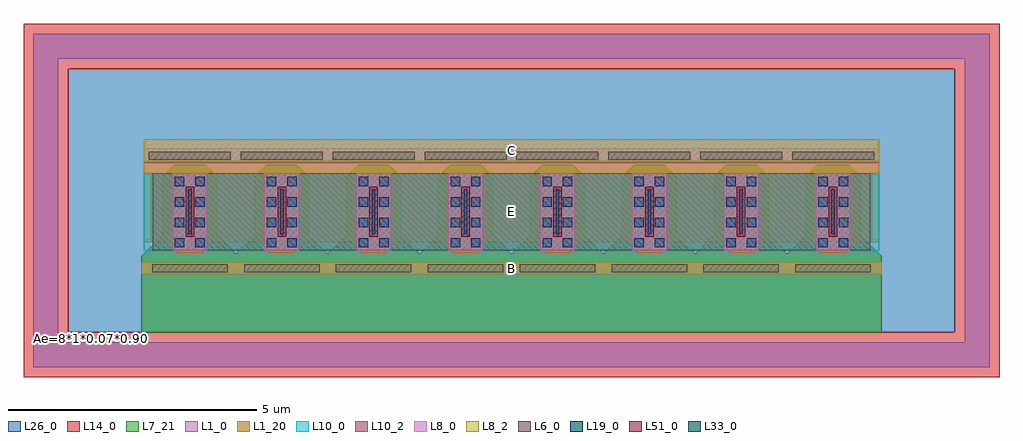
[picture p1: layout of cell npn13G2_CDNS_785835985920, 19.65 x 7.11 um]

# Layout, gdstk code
import gdstk
lib = gdstk.Library(unit=1e-6, precision=1e-09)
def R(c, l, rs):  # rectangles x0, y0, x1, y1
    for r in rs: c.add(gdstk.rectangle(r[:2], r[2:], *l))
def A(c, l, x, y, w, h, nx, ny, dx, dy):  # array of equal rectangles
    R(c, l, [(x+i*dx, y+j*dy, x+i*dx+w, y+j*dy+h) for i in range(nx) for j in range(ny)])
def P(c, l, *ps):  # polygons
    for p in ps: c.add(gdstk.Polygon(p, *l))
L1_0 = (1, 0)
L1_20 = (1, 20)
L6_0 = (6, 0)
L7_21 = (7, 21)
L8_0 = (8, 0)
L8_2 = (8, 2)
L10_0 = (10, 0)
L10_2 = (10, 2)
L14_0 = (14, 0)
L19_0 = (19, 0)
L26_0 = (26, 0)
L33_0 = (33, 0)
L51_0 = (51, 0)

npn13g2_base_cdns_785835 = lib.new_cell('npn13G2_base_CDNS_785835985921')
A(npn13g2_base_cdns_785835, L1_0, -0.925, -1.28, 1.85, 0.3, 8, 1, 1.85, 0)
P(npn13g2_base_cdns_785835, L1_20, [(12.025,-0.98),(12.025,0.62),(12.505,0.62),(12.715,0.83),(13.185,0.83),(13.395,0.62),(13.875,0.62),(13.875,-0.98)],
  [(10.175,-0.98),(10.175,0.62),(10.655,0.62),(10.865,0.83),(11.335,0.83),(11.545,0.62),(12.025,0.62),(12.025,-0.98)],
  [(8.325,-0.98),(8.325,0.62),(8.805,0.62),(9.015,0.83),(9.485,0.83),(9.695,0.62),(10.175,0.62),(10.175,-0.98)],
  [(6.475,-0.98),(6.475,0.62),(6.955,0.62),(7.165,0.83),(7.635,0.83),(7.845,0.62),(8.325,0.62),(8.325,-0.98)],
  [(4.625,-0.98),(4.625,0.62),(5.105,0.62),(5.315,0.83),(5.785,0.83),(5.995,0.62),(6.475,0.62),(6.475,-0.98)],
  [(2.775,-0.98),(2.775,0.62),(3.255,0.62),(3.465,0.83),(3.935,0.83),(4.145,0.62),(4.625,0.62),(4.625,-0.98)],
  [(0.925,-0.98),(0.925,0.62),(1.405,0.62),(1.615,0.83),(2.085,0.83),(2.295,0.62),(2.775,0.62),(2.775,-0.98)],
  [(-0.925,-0.98),(-0.925,0.62),(-0.445,0.62),(-0.235,0.83),(0.235,0.83),(0.445,0.62),(0.925,0.62),(0.925,-0.98)])
A(npn13g2_base_cdns_785835, L6_0, -0.825, -1.21, 1.65, 0.16, 8, 1, 1.85, 0)
A(npn13g2_base_cdns_785835, L6_0, -0.76, 1.06, 1.52, 0.16, 8, 1, 1.85, 0)
P(npn13g2_base_cdns_785835, L7_21, [(12.645,-0.94),(12.395,-0.69),(12.395,0.48),(11.975,0.9),(11.975,2.43),(13.925,2.43),(13.925,0.9),(13.505,0.48),(13.505,-0.69),(13.255,-0.94)],
  [(10.795,-0.94),(10.545,-0.69),(10.545,0.48),(10.125,0.9),(10.125,2.43),(12.075,2.43),(12.075,0.9),(11.655,0.48),(11.655,-0.69),(11.405,-0.94)],
  [(8.945,-0.94),(8.695,-0.69),(8.695,0.48),(8.275,0.9),(8.275,2.43),(10.225,2.43),(10.225,0.9),(9.805,0.48),(9.805,-0.69),(9.555,-0.94)],
  [(7.095,-0.94),(6.845,-0.69),(6.845,0.48),(6.425,0.9),(6.425,2.43),(8.375,2.43),(8.375,0.9),(7.955,0.48),(7.955,-0.69),(7.705,-0.94)],
  [(5.245,-0.94),(4.995,-0.69),(4.995,0.48),(4.575,0.9),(4.575,2.43),(6.525,2.43),(6.525,0.9),(6.105,0.48),(6.105,-0.69),(5.855,-0.94)],
  [(3.395,-0.94),(3.145,-0.69),(3.145,0.48),(2.725,0.9),(2.725,2.43),(4.675,2.43),(4.675,0.9),(4.255,0.48),(4.255,-0.69),(4.005,-0.94)],
  [(1.545,-0.94),(1.295,-0.69),(1.295,0.48),(0.875,0.9),(0.875,2.43),(2.825,2.43),(2.825,0.9),(2.405,0.48),(2.405,-0.69),(2.155,-0.94)],
  [(-0.305,-0.94),(-0.555,-0.69),(-0.555,0.48),(-0.975,0.9),(-0.975,2.43),(0.975,2.43),(0.975,0.9),(0.555,0.48),(0.555,-0.69),(0.305,-0.94)])
A(npn13g2_base_cdns_785835, L8_0, -0.35, -0.77, 0.7, 1.555, 8, 1, 1.85, 0)
R(npn13g2_base_cdns_785835, L8_0, [(-0.925,-1.46,13.875,-1.02), (-0.975,1.02,13.925,1.26)])
R(npn13g2_base_cdns_785835, L10_0, [(-0.925,-0.77,13.875,0.785)])
A(npn13g2_base_cdns_785835, L19_0, -0.3, -0.7, 0.19, 0.19, 1, 4, 0, 0.41)
A(npn13g2_base_cdns_785835, L19_0, 0.11, -0.7, 0.19, 0.19, 1, 4, 0, 0.41)
A(npn13g2_base_cdns_785835, L19_0, 1.55, -0.7, 0.19, 0.19, 1, 4, 0, 0.41)
A(npn13g2_base_cdns_785835, L19_0, 1.96, -0.7, 0.19, 0.19, 1, 4, 0, 0.41)
A(npn13g2_base_cdns_785835, L19_0, 3.4, -0.7, 0.19, 0.19, 1, 4, 0, 0.41)
A(npn13g2_base_cdns_785835, L19_0, 3.81, -0.7, 0.19, 0.19, 1, 4, 0, 0.41)
A(npn13g2_base_cdns_785835, L19_0, 5.25, -0.7, 0.19, 0.19, 1, 4, 0, 0.41)
A(npn13g2_base_cdns_785835, L19_0, 5.66, -0.7, 0.19, 0.19, 1, 4, 0, 0.41)
A(npn13g2_base_cdns_785835, L19_0, 7.1, -0.7, 0.19, 0.19, 1, 4, 0, 0.41)
A(npn13g2_base_cdns_785835, L19_0, 7.51, -0.7, 0.19, 0.19, 1, 4, 0, 0.41)
A(npn13g2_base_cdns_785835, L19_0, 8.95, -0.7, 0.19, 0.19, 1, 4, 0, 0.41)
A(npn13g2_base_cdns_785835, L19_0, 9.36, -0.7, 0.19, 0.19, 1, 4, 0, 0.41)
A(npn13g2_base_cdns_785835, L19_0, 10.8, -0.7, 0.19, 0.19, 1, 4, 0, 0.41)
A(npn13g2_base_cdns_785835, L19_0, 11.21, -0.7, 0.19, 0.19, 1, 4, 0, 0.41)
A(npn13g2_base_cdns_785835, L19_0, 12.65, -0.7, 0.19, 0.19, 1, 4, 0, 0.41)
A(npn13g2_base_cdns_785835, L19_0, 13.06, -0.7, 0.19, 0.19, 1, 4, 0, 0.41)
R(npn13g2_base_cdns_785835, L33_0, [(-0.035,-0.45,0.035,0.45), (-0.035,-0.45,0.035,0.45), (1.815,-0.45,1.885,0.45), (1.815,-0.45,1.885,0.45), (3.665,-0.45,3.735,0.45), (3.665,-0.45,3.735,0.45), (5.515,-0.45,5.585,0.45), (5.515,-0.45,5.585,0.45), (7.365,-0.45,7.435,0.45), (7.365,-0.45,7.435,0.45), (9.215,-0.45,9.285,0.45), (9.215,-0.45,9.285,0.45), (11.065,-0.45,11.135,0.45), (11.065,-0.45,11.135,0.45), (12.915,-0.45,12.985,0.45), (12.915,-0.45,12.985,0.45)])
A(npn13g2_base_cdns_785835, L51_0, -0.085, -0.5, 0.17, 1, 8, 1, 1.85, 0)
npn13g2_base_cdns_785835.add(gdstk.Label('npn13G2', (0.015,-2.31), layer=63, texttype=0))
npn13g2_base_cdns_785835.add(gdstk.Label('npn13G2_base', (12.95,0), layer=51, texttype=0))
npn13g2_base_cdns_785835.add(gdstk.Label('npn13G2_base', (11.1,0), layer=51, texttype=0))
npn13g2_base_cdns_785835.add(gdstk.Label('npn13G2_base', (9.25,0), layer=51, texttype=0))
npn13g2_base_cdns_785835.add(gdstk.Label('npn13G2_base', (7.4,0), layer=51, texttype=0))
npn13g2_base_cdns_785835.add(gdstk.Label('npn13G2_base', (5.55,0), layer=51, texttype=0))
npn13g2_base_cdns_785835.add(gdstk.Label('npn13G2_base', (3.7,0), layer=51, texttype=0))
npn13g2_base_cdns_785835.add(gdstk.Label('npn13G2_base', (1.85,0), layer=51, texttype=0))
npn13g2_base_cdns_785835.add(gdstk.Label('npn13G2_base', (0,0), layer=51, texttype=0))

npn13g2_cdns_78583598592 = lib.new_cell('npn13G2_CDNS_785835985920')
P(npn13g2_cdns_78583598592, L1_0, [(-3.15,-3.13),(-3.15,3.58),(15.6,3.58),(15.6,3.08),(-2.65,3.08),(-2.65,-2.63),(15.6,-2.63),(15.6,3.58),(16.1,3.58),(16.1,-3.13)])
R(npn13g2_cdns_78583598592, L8_2, [(-0.965,-1.26,13.925,-1.02), (-0.915,1.02,13.875,1.46)])
R(npn13g2_cdns_78583598592, L10_2, [(-0.745,-0.78,13.695,0.77)])
P(npn13g2_cdns_78583598592, L14_0, [(-3.35,-3.33),(-3.35,3.78),(15.4,3.78),(15.4,2.88),(-2.45,2.88),(-2.45,-2.43),(15.4,-2.43),(15.4,3.78),(16.3,3.78),(16.3,-3.33)])
R(npn13g2_cdns_78583598592, L26_0, [(-2.45,-2.43,15.4,2.88)])
npn13g2_cdns_78583598592.add(gdstk.Reference(npn13g2_base_cdns_785835, (0,0), x_reflection=True))
npn13g2_cdns_78583598592.add(gdstk.Label('Ae=8*1*0.07*0.90', (-1.977,-2.546), layer=63, texttype=0))
npn13g2_cdns_78583598592.add(gdstk.Label('E', (6.475,-0.005), layer=63, texttype=0))
npn13g2_cdns_78583598592.add(gdstk.Label('B', (6.48,-1.14), layer=63, texttype=0))
npn13g2_cdns_78583598592.add(gdstk.Label('C', (6.48,1.24), layer=63, texttype=0))

lib.write_gds('npn13G2_CDNS_785835985920.gds')
